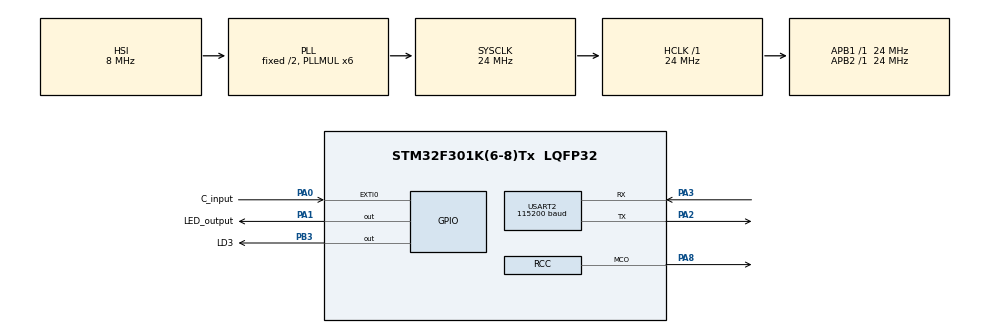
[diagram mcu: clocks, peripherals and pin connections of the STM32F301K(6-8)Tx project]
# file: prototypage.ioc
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Mcu.Family=STM32F3
Mcu.Name=STM32F301K(6-8)Tx
Mcu.Package=LQFP32
NVIC.EXTI0_IRQn=true\:0\:0\:false\:false\:true\:true\:true\:true
NVIC.PriorityGroup=NVIC_PRIORITYGROUP_4
NVIC.TIM6_DAC_IRQn=true\:0\:0\:false\:false\:true\:true\:true\:true
PA0.GPIO_Label=C_input
PA0.Signal=GPXTI0
PA1.GPIO_Label=LED_output
PA1.Signal=GPIO_Output
PA2.Mode=Asynchronous
PA2.Signal=USART2_TX
PA3.Mode=Asynchronous
PA3.Signal=USART2_RX
PA8.Mode=Clock-out
PA8.Signal=RCC_MCO
PB3.GPIO_Label=LD3
PB3.Signal=GPIO_Output
PF0-OSC_IN.Mode=HSE-External-Oscillator
PF0-OSC_IN.Signal=RCC_OSC_IN
PF1-OSC_OUT.Mode=HSE-External-Oscillator
PF1-OSC_OUT.Signal=RCC_OSC_OUT
ProjectManager.HeapSize=0x200
ProjectManager.StackSize=0x400
ProjectManager.TargetToolchain=STM32CubeIDE
RCC.AHBFreq_Value=24000000
RCC.APB1Freq_Value=24000000
RCC.APB1TimFreq_Value=24000000
RCC.APB2Freq_Value=24000000
RCC.APB2TimFreq_Value=24000000
RCC.CortexFreq_Value=24000000
RCC.HCLKFreq_Value=24000000
RCC.HSE_VALUE=24000000
RCC.HSI_VALUE=8000000
RCC.PLLMUL=RCC_PLL_MUL6
RCC.SYSCLKFreq_VALUE=24000000
RCC.SYSCLKSourceVirtual=RCC_SYSCLKSOURCE_PLLCLK
TIM6.Period=1000
TIM6.Prescaler=24-1
USART2.BaudRate=115200
USART2.VirtualMode-Asynchronous=VM_ASYNC
VP_TIM6_VS_ClockSourceINT.Mode=Enable_Timer
board=custom

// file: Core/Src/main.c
/* USER CODE BEGIN Header */
/**
  ******************************************************************************
  * @file           : main.c
  * @brief          : Main program body
  ******************************************************************************
  * @attention
  *
  * Copyright (c) 2024 STMicroelectronics.
  * All rights reserved.
  *
  * This software is licensed under terms that can be found in the LICENSE file
  * in the root directory of this software component.
  * If no LICENSE file comes with this software, it is provided AS-IS.
  *
  ******************************************************************************
  */
/* USER CODE END Header */
#include "main.h"

/* USER CODE BEGIN Includes */
#include <stdio.h>
#include "settings.h"
#include "sensor.h"
/* USER CODE END Includes */

TIM_HandleTypeDef htim6;

UART_HandleTypeDef huart2;

/* USER CODE BEGIN PV */

volatile double sensor_input_period_ns = 0; // TIM2 input capture period
volatile double sensor_input_frequency_hz = 0; // TIM2 input capture frequency
volatile double sensor_capacity_pF = 0;

volatile _Bool tim6_active = 0;
volatile _Bool tim6_activate = 0;
volatile uint32_t rising_edge_count = 0;

char uart_message[128] = "Hey";

uint32_t led_active_time = 0;

/* USER CODE END PV */

void SystemClock_Config(void);
static void MX_GPIO_Init(void);
static void MX_USART2_UART_Init(void);
static void MX_TIM6_Init(void);
/* USER CODE BEGIN PFP */

void HAL_TIM_IC_CaptureCallback(TIM_HandleTypeDef* htim);
void HAL_TIM_PeriodElapsedCallback(TIM_HandleTypeDef * htim);

/* USER CODE END PFP */

int main(void)
{

  /* MCU Configuration--------------------------------------------------------*/

  /* Reset of all peripherals, Initializes the Flash interface and the Systick. */
  HAL_Init();

  /* Configure the system clock */
  SystemClock_Config();

  /* Initialize all configured peripherals */
  MX_GPIO_Init();
  MX_USART2_UART_Init();
  MX_TIM6_Init();
  /* USER CODE BEGIN 2 */
  HAL_TIM_Base_Start_IT(&htim6);
  // HAL_TIM_IC_Start_IT(&htim2, TIM_CHANNEL_1);

  HAL_UART_Transmit(&huart2, (unsigned char*) "\r\nInitialised successfully \r\n--- \r\n", 64, 500);
  HAL_Delay(1000);
  /* USER CODE END 2 */

  /* Infinite loop */
  /* USER CODE BEGIN WHILE */
  while (1)
  {
	  measure();
	  if(sensor_capacity_pF > 20)
	  {
		  led_active_time = 10000;
	  }

	  // UART : debug
	  HAL_Delay(1000);
	  sprintf(uart_message, "Freq : %f Hz  - C : %f pF \r\n", sensor_input_frequency_hz, sensor_capacity_pF);
	  HAL_UART_Transmit(&huart2, (unsigned char*) uart_message, 64, 500);
    /* USER CODE END WHILE */

  }
}

void SystemClock_Config(void)
{
  RCC_OscInitTypeDef RCC_OscInitStruct = {0};
  RCC_ClkInitTypeDef RCC_ClkInitStruct = {0};

  /** Initializes the RCC Oscillators according to the specified parameters
  * in the RCC_OscInitTypeDef structure.
  */
  RCC_OscInitStruct.OscillatorType = RCC_OSCILLATORTYPE_HSI;
  RCC_OscInitStruct.HSIState = RCC_HSI_ON;
  RCC_OscInitStruct.HSICalibrationValue = RCC_HSICALIBRATION_DEFAULT;
  RCC_OscInitStruct.PLL.PLLState = RCC_PLL_ON;
  RCC_OscInitStruct.PLL.PLLSource = RCC_PLLSOURCE_HSI;
  RCC_OscInitStruct.PLL.PLLMUL = RCC_PLL_MUL6;
  if (HAL_RCC_OscConfig(&RCC_OscInitStruct) != HAL_OK)
  {
    Error_Handler();
  }

  /** Initializes the CPU, AHB and APB buses clocks
  */
  RCC_ClkInitStruct.ClockType = RCC_CLOCKTYPE_HCLK|RCC_CLOCKTYPE_SYSCLK
                              |RCC_CLOCKTYPE_PCLK1|RCC_CLOCKTYPE_PCLK2;
  RCC_ClkInitStruct.SYSCLKSource = RCC_SYSCLKSOURCE_PLLCLK;
  RCC_ClkInitStruct.AHBCLKDivider = RCC_SYSCLK_DIV1;
  RCC_ClkInitStruct.APB1CLKDivider = RCC_HCLK_DIV1;
  RCC_ClkInitStruct.APB2CLKDivider = RCC_HCLK_DIV1;

  if (HAL_RCC_ClockConfig(&RCC_ClkInitStruct, FLASH_LATENCY_0) != HAL_OK)
  {
    Error_Handler();
  }
  HAL_RCC_MCOConfig(RCC_MCO, RCC_MCO1SOURCE_SYSCLK, RCC_MCODIV_1);
}

static void MX_TIM6_Init(void)
{

  TIM_MasterConfigTypeDef sMasterConfig = {0};

  htim6.Instance = TIM6;
  htim6.Init.Prescaler = 24-1;
  htim6.Init.CounterMode = TIM_COUNTERMODE_UP;
  htim6.Init.Period = 1000;
  htim6.Init.AutoReloadPreload = TIM_AUTORELOAD_PRELOAD_DISABLE;
  if (HAL_TIM_Base_Init(&htim6) != HAL_OK)
  {
    Error_Handler();
  }
  sMasterConfig.MasterOutputTrigger = TIM_TRGO_RESET;
  sMasterConfig.MasterSlaveMode = TIM_MASTERSLAVEMODE_DISABLE;
  if (HAL_TIMEx_MasterConfigSynchronization(&htim6, &sMasterConfig) != HAL_OK)
  {
    Error_Handler();
  }

}

static void MX_USART2_UART_Init(void)
{

  huart2.Instance = USART2;
  huart2.Init.BaudRate = 115200;
  huart2.Init.WordLength = UART_WORDLENGTH_8B;
  huart2.Init.StopBits = UART_STOPBITS_1;
  huart2.Init.Parity = UART_PARITY_NONE;
  huart2.Init.Mode = UART_MODE_TX_RX;
  huart2.Init.HwFlowCtl = UART_HWCONTROL_NONE;
  huart2.Init.OverSampling = UART_OVERSAMPLING_16;
  huart2.Init.OneBitSampling = UART_ONE_BIT_SAMPLE_DISABLE;
  huart2.AdvancedInit.AdvFeatureInit = UART_ADVFEATURE_NO_INIT;
  if (HAL_UART_Init(&huart2) != HAL_OK)
  {
    Error_Handler();
  }

}

static void MX_GPIO_Init(void)
{
  GPIO_InitTypeDef GPIO_InitStruct = {0};

  /* GPIO Ports Clock Enable */
  __HAL_RCC_GPIOF_CLK_ENABLE();
  __HAL_RCC_GPIOA_CLK_ENABLE();
  __HAL_RCC_GPIOB_CLK_ENABLE();

  /*Configure GPIO pin Output Level */
  HAL_GPIO_WritePin(LED_output_GPIO_Port, LED_output_Pin, GPIO_PIN_RESET);

  /*Configure GPIO pin Output Level */
  HAL_GPIO_WritePin(LD3_GPIO_Port, LD3_Pin, GPIO_PIN_RESET);

  /*Configure GPIO pin : C_input_Pin */
  GPIO_InitStruct.Pin = C_input_Pin;
  GPIO_InitStruct.Mode = GPIO_MODE_IT_RISING;
  GPIO_InitStruct.Pull = GPIO_NOPULL;
  HAL_GPIO_Init(C_input_GPIO_Port, &GPIO_InitStruct);

  /*Configure GPIO pin : LED_output_Pin */
  GPIO_InitStruct.Pin = LED_output_Pin;
  GPIO_InitStruct.Mode = GPIO_MODE_OUTPUT_PP;
  GPIO_InitStruct.Pull = GPIO_NOPULL;
  GPIO_InitStruct.Speed = GPIO_SPEED_FREQ_LOW;
  HAL_GPIO_Init(LED_output_GPIO_Port, &GPIO_InitStruct);

  /*Configure GPIO pin : PA8 */
  GPIO_InitStruct.Pin = GPIO_PIN_8;
  GPIO_InitStruct.Mode = GPIO_MODE_AF_PP;
  GPIO_InitStruct.Pull = GPIO_NOPULL;
  GPIO_InitStruct.Speed = GPIO_SPEED_FREQ_LOW;
  GPIO_InitStruct.Alternate = GPIO_AF0_MCO;
  HAL_GPIO_Init(GPIOA, &GPIO_InitStruct);

  /*Configure GPIO pin : LD3_Pin */
  GPIO_InitStruct.Pin = LD3_Pin;
  GPIO_InitStruct.Mode = GPIO_MODE_OUTPUT_PP;
  GPIO_InitStruct.Pull = GPIO_NOPULL;
  GPIO_InitStruct.Speed = GPIO_SPEED_FREQ_LOW;
  HAL_GPIO_Init(LD3_GPIO_Port, &GPIO_InitStruct);

  /* EXTI interrupt init*/
  HAL_NVIC_SetPriority(EXTI0_IRQn, 0, 0);
  HAL_NVIC_EnableIRQ(EXTI0_IRQn);

}

/* USER CODE BEGIN 4 */

void HAL_TIM_PeriodElapsedCallback(TIM_HandleTypeDef * htim)
{
	if(htim->Instance == TIM6) // TIM6 : counts to 1000 with increments every 1us, for a total 1ms
	{
		if(led_active_time > 0)
		{
			led_active_time--;
		}

		if(tim6_activate && !tim6_active)
		{
			tim6_active = 1;
			tim6_activate = 0;
			rising_edge_count = 0; // reset count
		}
		else if(tim6_active)
		{
			tim6_active = 0;
			tim6_activate = 0;

			// Calculations
			sensor_input_frequency_hz = rising_edge_count * 1000;
			sensor_capacity_pF = (1 / sensor_input_frequency_hz) * PERIOD_CAPA_COEFF + PERIOD_CAPA_BASE;
		}
	}

	if(led_active_time)
	  {
		  HAL_GPIO_WritePin(GPIOA, GPIO_PIN_1, 1);
		  HAL_GPIO_WritePin(GPIOB, GPIO_PIN_3, 1);
	  }
	  else
	  {
		  HAL_GPIO_WritePin(GPIOA, GPIO_PIN_1, 0);
		  HAL_GPIO_WritePin(GPIOB, GPIO_PIN_3, 0);
	  }
}

void HAL_GPIO_EXTI_Callback(uint16_t GPIO_Pin)
{
	if(GPIO_Pin == GPIO_PIN_0)
	{
		if(tim6_active)
		{
			rising_edge_count++;
		}
	}
}

/* USER CODE END 4 */

void Error_Handler(void)
{
  __disable_irq();
  while (1)
  {
  }
}
